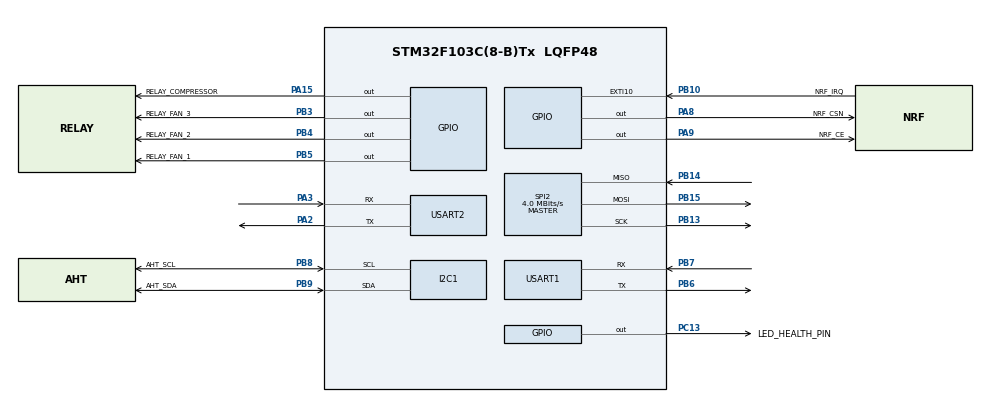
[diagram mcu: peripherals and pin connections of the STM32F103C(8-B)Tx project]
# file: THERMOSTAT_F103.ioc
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Mcu.Family=STM32F1
Mcu.Name=STM32F103C(8-B)Tx
Mcu.Package=LQFP48
NVIC.PriorityGroup=NVIC_PRIORITYGROUP_4
PA13.Mode=Serial_Wire
PA13.Signal=SYS_JTMS-SWDIO
PA14.Mode=Serial_Wire
PA14.Signal=SYS_JTCK-SWCLK
PA15.GPIO_Label=RELAY_COMPRESSOR
PA15.Signal=GPIO_Output
PA2.Mode=Asynchronous
PA2.Signal=USART2_TX
PA3.Mode=Asynchronous
PA3.Signal=USART2_RX
PA8.GPIO_Label=NRF_CSN
PA8.Signal=GPIO_Output
PA9.GPIO_Label=NRF_CE
PA9.Signal=GPIO_Output
PB10.GPIO_Label=NRF_IRQ
PB10.Signal=GPXTI10
PB13.Mode=Full_Duplex_Master
PB13.Signal=SPI2_SCK
PB14.Mode=Full_Duplex_Master
PB14.Signal=SPI2_MISO
PB15.Mode=Full_Duplex_Master
PB15.Signal=SPI2_MOSI
PB3.GPIO_Label=RELAY_FAN_3
PB3.Signal=GPIO_Output
PB4.GPIO_Label=RELAY_FAN_2
PB4.Signal=GPIO_Output
PB5.GPIO_Label=RELAY_FAN_1
PB5.Signal=GPIO_Output
PB6.Mode=Asynchronous
PB6.Signal=USART1_TX
PB7.Mode=Asynchronous
PB7.Signal=USART1_RX
PB8.GPIO_Label=AHT_SCL
PB8.Mode=I2C
PB8.Signal=I2C1_SCL
PB9.GPIO_Label=AHT_SDA
PB9.Mode=I2C
PB9.Signal=I2C1_SDA
PC13-TAMPER-RTC.GPIO_Label=LED_HEALTH_PIN
PC13-TAMPER-RTC.Signal=GPIO_Output
PC14-OSC32_IN.Mode=LSE-External-Oscillator
PC14-OSC32_IN.Signal=RCC_OSC32_IN
PC15-OSC32_OUT.Mode=LSE-External-Oscillator
PC15-OSC32_OUT.Signal=RCC_OSC32_OUT
PD0-OSC_IN.Mode=HSE-External-Oscillator
PD0-OSC_IN.Signal=RCC_OSC_IN
PD1-OSC_OUT.Mode=HSE-External-Oscillator
PD1-OSC_OUT.Signal=RCC_OSC_OUT
ProjectManager.HeapSize=0x200
ProjectManager.StackSize=0x400
ProjectManager.TargetToolchain=STM32CubeIDE
RCC.APB1Freq_Value=8000000
RCC.APB2Freq_Value=8000000
SPI2.CalculateBaudRate=4.0 MBits/s
SPI2.Direction=SPI_DIRECTION_2LINES
SPI2.Mode=SPI_MODE_MASTER
SPI2.VirtualType=VM_MASTER
USART1.VirtualMode=VM_ASYNC
USART2.VirtualMode=VM_ASYNC
board=custom

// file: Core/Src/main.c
/* USER CODE BEGIN Header */
/**
 ******************************************************************************
 * @file           : main.c
 * @brief          : Main program body
 ******************************************************************************
 * @attention
 *
 * Copyright (c) 2023 STMicroelectronics.
 * All rights reserved.
 *
 * This software is licensed under terms that can be found in the LICENSE file
 * in the root directory of this software component.
 * If no LICENSE file comes with this software, it is provided AS-IS.
 *
 ******************************************************************************
 */
/* USER CODE END Header */
#include "main.h"

/* USER CODE BEGIN Includes */
#include "utility.h"
#include "lcd.h"
#include "AHT21.h"
#include "MY_NRF24.h"
/* USER CODE END Includes */

I2C_HandleTypeDef hi2c1;

SPI_HandleTypeDef hspi2;

UART_HandleTypeDef huart1;
UART_HandleTypeDef huart2;

void SystemClock_Config(void);
static void MX_GPIO_Init(void);
static void MX_I2C1_Init(void);
static void MX_USART1_UART_Init(void);
static void MX_SPI2_Init(void);
static void MX_USART2_UART_Init(void);

/* USER CODE BEGIN 0 */
uint8_t r;
extern bool current_power_status;
/* USER CODE END 0 */

int main(void) {

	/* MCU Configuration--------------------------------------------------------*/

	/* Reset of all peripherals, Initializes the Flash interface and the Systick. */
	HAL_Init();

	/* Configure the system clock */
	SystemClock_Config();

	/* Initialize all configured peripherals */
	MX_GPIO_Init();
	MX_I2C1_Init();
	MX_USART1_UART_Init();
	MX_SPI2_Init();
	MX_USART2_UART_Init();
	/* USER CODE BEGIN 2 */
	__HAL_UART_ENABLE_IT(&huart1, UART_IT_RXNE);
//	NRF_init_as_thermo_node();
//	thermostat_display_initial_setup();
	HAL_GPIO_WritePin(RELAY_FAN_1_GPIO_Port, RELAY_FAN_1_Pin, GPIO_PIN_SET);
	HAL_Delay(1000);
	HAL_GPIO_WritePin(RELAY_FAN_2_GPIO_Port, RELAY_FAN_2_Pin, GPIO_PIN_SET);
	HAL_Delay(1000);
	HAL_GPIO_WritePin(RELAY_FAN_3_GPIO_Port, RELAY_FAN_3_Pin, GPIO_PIN_SET);
	HAL_Delay(1000);
	HAL_GPIO_WritePin(RELAY_COMPRESSOR_GPIO_Port, RELAY_COMPRESSOR_Pin,
			GPIO_PIN_SET);
	/* USER CODE END 2 */

	/* Infinite loop */
	/* USER CODE BEGIN WHILE */
	while (1) {
//		update_dwin_lcd();
		/* USER CODE END WHILE */

		/* USER CODE BEGIN 3 */
		//THERMOSTAT CODE
		if (current_power_status == power_status_on) {
			adjust_temperature();
			if (NRF24_available()) {
				Manage_NRF_Data();
			}
		}
		HAL_GPIO_TogglePin(LED_HEALTH_PIN_GPIO_Port, LED_HEALTH_PIN_Pin);
		HAL_Delay(100);
	}
	/* USER CODE END 3 */
}

void SystemClock_Config(void) {
	RCC_OscInitTypeDef RCC_OscInitStruct = { 0 };
	RCC_ClkInitTypeDef RCC_ClkInitStruct = { 0 };

	/** Initializes the RCC Oscillators according to the specified parameters
	 * in the RCC_OscInitTypeDef structure.
	 */
	RCC_OscInitStruct.OscillatorType = RCC_OSCILLATORTYPE_HSI;
	RCC_OscInitStruct.HSIState = RCC_HSI_ON;
	RCC_OscInitStruct.HSICalibrationValue = RCC_HSICALIBRATION_DEFAULT;
	RCC_OscInitStruct.PLL.PLLState = RCC_PLL_NONE;
	if (HAL_RCC_OscConfig(&RCC_OscInitStruct) != HAL_OK) {
		Error_Handler();
	}

	/** Initializes the CPU, AHB and APB buses clocks
	 */
	RCC_ClkInitStruct.ClockType = RCC_CLOCKTYPE_HCLK | RCC_CLOCKTYPE_SYSCLK
			| RCC_CLOCKTYPE_PCLK1 | RCC_CLOCKTYPE_PCLK2;
	RCC_ClkInitStruct.SYSCLKSource = RCC_SYSCLKSOURCE_HSI;
	RCC_ClkInitStruct.AHBCLKDivider = RCC_SYSCLK_DIV1;
	RCC_ClkInitStruct.APB1CLKDivider = RCC_HCLK_DIV1;
	RCC_ClkInitStruct.APB2CLKDivider = RCC_HCLK_DIV1;

	if (HAL_RCC_ClockConfig(&RCC_ClkInitStruct, FLASH_LATENCY_0) != HAL_OK) {
		Error_Handler();
	}
}

static void MX_I2C1_Init(void) {

	hi2c1.Instance = I2C1;
	hi2c1.Init.ClockSpeed = 100000;
	hi2c1.Init.DutyCycle = I2C_DUTYCYCLE_2;
	hi2c1.Init.OwnAddress1 = 0;
	hi2c1.Init.AddressingMode = I2C_ADDRESSINGMODE_7BIT;
	hi2c1.Init.DualAddressMode = I2C_DUALADDRESS_DISABLE;
	hi2c1.Init.OwnAddress2 = 0;
	hi2c1.Init.GeneralCallMode = I2C_GENERALCALL_DISABLE;
	hi2c1.Init.NoStretchMode = I2C_NOSTRETCH_DISABLE;
	if (HAL_I2C_Init(&hi2c1) != HAL_OK) {
		Error_Handler();
	}

}

static void MX_SPI2_Init(void) {

	/* SPI2 parameter configuration*/
	hspi2.Instance = SPI2;
	hspi2.Init.Mode = SPI_MODE_MASTER;
	hspi2.Init.Direction = SPI_DIRECTION_2LINES;
	hspi2.Init.DataSize = SPI_DATASIZE_8BIT;
	hspi2.Init.CLKPolarity = SPI_POLARITY_LOW;
	hspi2.Init.CLKPhase = SPI_PHASE_1EDGE;
	hspi2.Init.NSS = SPI_NSS_SOFT;
	hspi2.Init.BaudRatePrescaler = SPI_BAUDRATEPRESCALER_2;
	hspi2.Init.FirstBit = SPI_FIRSTBIT_MSB;
	hspi2.Init.TIMode = SPI_TIMODE_DISABLE;
	hspi2.Init.CRCCalculation = SPI_CRCCALCULATION_DISABLE;
	hspi2.Init.CRCPolynomial = 10;
	if (HAL_SPI_Init(&hspi2) != HAL_OK) {
		Error_Handler();
	}

}

static void MX_USART1_UART_Init(void) {

	huart1.Instance = USART1;
	huart1.Init.BaudRate = 115200;
	huart1.Init.WordLength = UART_WORDLENGTH_8B;
	huart1.Init.StopBits = UART_STOPBITS_1;
	huart1.Init.Parity = UART_PARITY_NONE;
	huart1.Init.Mode = UART_MODE_TX_RX;
	huart1.Init.HwFlowCtl = UART_HWCONTROL_NONE;
	huart1.Init.OverSampling = UART_OVERSAMPLING_16;
	if (HAL_UART_Init(&huart1) != HAL_OK) {
		Error_Handler();
	}

}

static void MX_USART2_UART_Init(void) {

	huart2.Instance = USART2;
	huart2.Init.BaudRate = 115200;
	huart2.Init.WordLength = UART_WORDLENGTH_8B;
	huart2.Init.StopBits = UART_STOPBITS_1;
	huart2.Init.Parity = UART_PARITY_NONE;
	huart2.Init.Mode = UART_MODE_TX_RX;
	huart2.Init.HwFlowCtl = UART_HWCONTROL_NONE;
	huart2.Init.OverSampling = UART_OVERSAMPLING_16;
	if (HAL_UART_Init(&huart2) != HAL_OK) {
		Error_Handler();
	}

}

static void MX_GPIO_Init(void) {
	GPIO_InitTypeDef GPIO_InitStruct = { 0 };

	/* GPIO Ports Clock Enable */
	__HAL_RCC_GPIOC_CLK_ENABLE();
	__HAL_RCC_GPIOD_CLK_ENABLE();
	__HAL_RCC_GPIOA_CLK_ENABLE();
	__HAL_RCC_GPIOB_CLK_ENABLE();

	/*Configure GPIO pin Output Level */
	HAL_GPIO_WritePin(LED_HEALTH_PIN_GPIO_Port, LED_HEALTH_PIN_Pin,
			GPIO_PIN_RESET);

	/*Configure GPIO pin Output Level */
	HAL_GPIO_WritePin(GPIOA, NRF_CSN_Pin | NRF_CE_Pin | RELAY_COMPRESSOR_Pin,
			GPIO_PIN_RESET);

	/*Configure GPIO pin Output Level */
	HAL_GPIO_WritePin(GPIOB,
			RELAY_FAN_3_Pin | RELAY_FAN_2_Pin | RELAY_FAN_1_Pin,
			GPIO_PIN_RESET);

	/*Configure GPIO pin : LED_HEALTH_PIN_Pin */
	GPIO_InitStruct.Pin = LED_HEALTH_PIN_Pin;
	GPIO_InitStruct.Mode = GPIO_MODE_OUTPUT_PP;
	GPIO_InitStruct.Pull = GPIO_NOPULL;
	GPIO_InitStruct.Speed = GPIO_SPEED_FREQ_LOW;
	HAL_GPIO_Init(LED_HEALTH_PIN_GPIO_Port, &GPIO_InitStruct);

	/*Configure GPIO pin : NRF_IRQ_Pin */
	GPIO_InitStruct.Pin = NRF_IRQ_Pin;
	GPIO_InitStruct.Mode = GPIO_MODE_IT_RISING;
	GPIO_InitStruct.Pull = GPIO_NOPULL;
	HAL_GPIO_Init(NRF_IRQ_GPIO_Port, &GPIO_InitStruct);

	/*Configure GPIO pins : NRF_CSN_Pin NRF_CE_Pin RELAY_COMPRESSOR_Pin */
	GPIO_InitStruct.Pin = NRF_CSN_Pin | NRF_CE_Pin | RELAY_COMPRESSOR_Pin;
	GPIO_InitStruct.Mode = GPIO_MODE_OUTPUT_PP;
	GPIO_InitStruct.Pull = GPIO_NOPULL;
	GPIO_InitStruct.Speed = GPIO_SPEED_FREQ_LOW;
	HAL_GPIO_Init(GPIOA, &GPIO_InitStruct);

	/*Configure GPIO pins : RELAY_FAN_3_Pin RELAY_FAN_2_Pin RELAY_FAN_1_Pin */
	GPIO_InitStruct.Pin = RELAY_FAN_3_Pin | RELAY_FAN_2_Pin | RELAY_FAN_1_Pin;
	GPIO_InitStruct.Mode = GPIO_MODE_OUTPUT_PP;
	GPIO_InitStruct.Pull = GPIO_NOPULL;
	GPIO_InitStruct.Speed = GPIO_SPEED_FREQ_LOW;
	HAL_GPIO_Init(GPIOB, &GPIO_InitStruct);

}

/* USER CODE BEGIN 4 */
void HAL_UART_RxCpltCallback(UART_HandleTypeDef *huart) {
	dwinRx(r);
//	HAL_GPIO_TogglePin(LED_HEALTH_PIN_GPIO_Port, LED_HEALTH_PIN_Pin);
}
/* USER CODE END 4 */

void Error_Handler(void) {
	__disable_irq();
	while (1) {
	}
}
